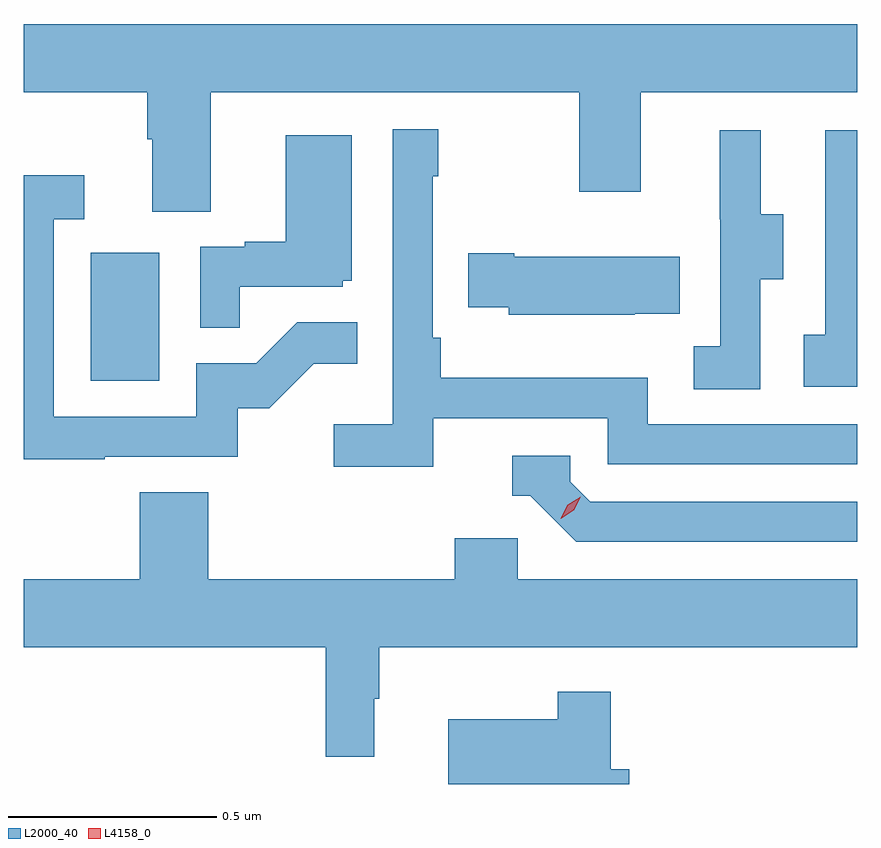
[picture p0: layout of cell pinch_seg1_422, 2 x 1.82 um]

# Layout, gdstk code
import gdstk
lib = gdstk.Library(unit=1e-6, precision=1e-09)
def R(c, l, rs):  # rectangles x0, y0, x1, y1
    for r in rs: c.add(gdstk.rectangle(r[:2], r[2:], *l))
def P(c, l, *ps):  # polygons
    for p in ps: c.add(gdstk.Polygon(p, *l))
L2000_40 = (2000, 40)
L4158_0 = (4158, 0)

pinch_seg1_422 = lib.new_cell('pinch_seg1_422')
R(pinch_seg1_422, L2000_40, [(920.786,539.052,920.95,539.359)])
P(pinch_seg1_422, L2000_40, [(921.073,539.744),(921.958,539.744),(921.958,539.505),(922.105,539.505),(922.105,539.744),(922.625,539.744),(922.625,539.908),(920.625,539.908),(920.625,539.744),(920.921,539.744),(920.921,539.632),(920.933,539.632),(920.933,539.458),(921.073,539.458)],
  [(921.608,538.962),(922.026,538.962),(922.026,538.851),(922.625,538.851),(922.625,538.947),(922.122,538.947),(922.122,539.059),(921.626,539.059),(921.626,539.155),(921.606,539.155),(921.606,539.543),(921.619,539.543),(921.619,539.656),(921.51,539.656),(921.51,538.948),(921.369,538.948),(921.369,538.846),(921.608,538.846)],
  [(922.625,539.653),(922.548,539.653),(922.548,539.162),(922.497,539.162),(922.497,539.037),(922.625,539.037)],
  [(922.392,539.296),(922.447,539.296),(922.447,539.451),(922.393,539.451),(922.393,539.653),(922.295,539.653),(922.295,539.439),(922.296,539.439),(922.296,539.135),(922.233,539.135),(922.233,539.032),(922.392,539.032)],
  [(921.143,539.277),(921.39,539.277),(921.39,539.292),(921.412,539.292),(921.412,539.641),(921.254,539.641),(921.254,539.386),(921.155,539.386),(921.155,539.373),(921.048,539.373),(921.048,539.179),(921.143,539.179)],
  [(920.819,538.869),(921.138,538.869),(921.138,538.986),(921.214,538.986),(921.321,539.093),(921.425,539.093),(921.425,539.192),(921.281,539.192),(921.183,539.094),(921.039,539.094),(921.039,538.965),(920.697,538.965),(920.697,539.439),(920.77,539.439),(920.77,539.545),(920.625,539.545),(920.625,538.864),(920.819,538.864)],
  [(922.091,539.213),(922.199,539.213),(922.199,539.35),(921.802,539.35),(921.802,539.358),(921.691,539.358),(921.691,539.228),(921.789,539.228),(921.789,539.21),(922.091,539.21)],
  [(922.625,538.761),(921.984,538.761),(921.936,538.809),(921.936,538.872),(921.797,538.872),(921.797,538.776),(921.84,538.776),(921.951,538.665),(922.625,538.665)],
  [(921.466,538.289),(921.478,538.289),(921.478,538.412),(922.625,538.412),(922.625,538.576),(921.81,538.576),(921.81,538.674),(921.659,538.674),(921.659,538.576),(921.068,538.576),(921.068,538.784),(920.903,538.784),(920.903,538.576),(920.625,538.576),(920.625,538.412),(921.349,538.412),(921.349,538.149),(921.466,538.149)],
  [(922.078,538.119),(922.034,538.119),(922.034,538.306),(921.906,538.306),(921.906,538.24),(921.644,538.24),(921.644,538.084),(922.078,538.084)])
P(pinch_seg1_422, L4158_0, [(921.914,538.721),(921.914,538.722),(921.93,538.754),(921.961,538.774),(921.962,538.774),(921.962,538.774),(921.945,538.741),(921.914,538.721)])

lib.write_gds('pinch_seg1_422.gds')
